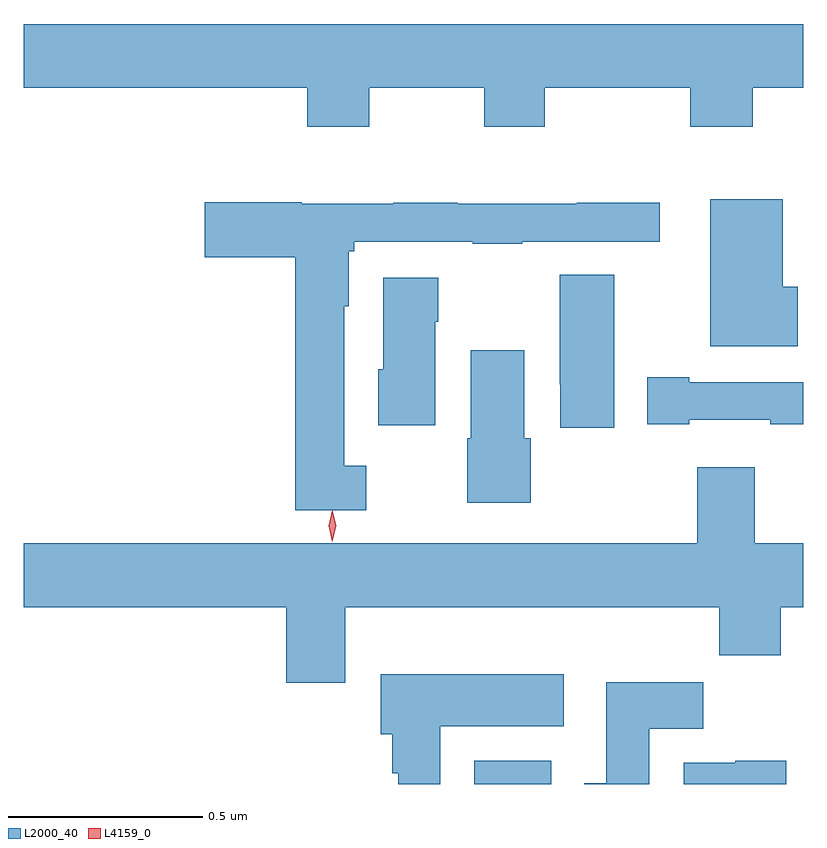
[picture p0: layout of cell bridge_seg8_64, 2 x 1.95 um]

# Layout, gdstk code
import gdstk
lib = gdstk.Library(unit=1e-6, precision=1e-09)
def R(c, l, rs):  # rectangles x0, y0, x1, y1
    for r in rs: c.add(gdstk.rectangle(r[:2], r[2:], *l))
def P(c, l, *ps):  # polygons
    for p in ps: c.add(gdstk.Polygon(p, *l))
L2000_40 = (2000, 40)
L4159_0 = (4159, 0)

bridge_seg8_64 = lib.new_cell('bridge_seg8_64')
R(bridge_seg8_64, L2000_40, [(1090.436,1112.05,1090.633,1112.11)])
P(bridge_seg8_64, L2000_40, [(1090.167,1113.836),(1090.462,1113.836),(1090.462,1113.737),(1090.617,1113.737),(1090.617,1113.836),(1090.99,1113.836),(1090.99,1113.737),(1091.15,1113.737),(1091.15,1113.836),(1091.28,1113.836),(1091.28,1114),(1089.28,1114),(1089.28,1113.836),(1090.007,1113.836),(1090.007,1113.737),(1090.167,1113.737)],
  [(1091.266,1113.326),(1091.227,1113.326),(1091.227,1113.55),(1091.042,1113.55),(1091.042,1113.173),(1091.266,1113.173)],
  [(1090.159,1112.866),(1090.102,1112.866),(1090.102,1113.276),(1090.114,1113.276),(1090.114,1113.417),(1090.128,1113.417),(1090.128,1113.441),(1090.432,1113.441),(1090.432,1113.436),(1090.559,1113.436),(1090.559,1113.441),(1090.912,1113.441),(1090.912,1113.542),(1090.699,1113.542),(1090.699,1113.539),(1090.393,1113.539),(1090.393,1113.542),(1090.228,1113.542),(1090.228,1113.539),(1089.993,1113.539),(1089.993,1113.543),(1089.744,1113.543),(1089.744,1113.401),(1089.977,1113.401),(1089.977,1112.753),(1090.159,1112.753)],
  [(1090.795,1113.356),(1090.655,1113.356),(1090.655,1113.076),(1090.657,1113.076),(1090.657,1112.964),(1090.795,1112.964)],
  [(1090.336,1113.236),(1090.344,1113.236),(1090.344,1113.349),(1090.202,1113.349),(1090.202,1113.114),(1090.19,1113.114),(1090.19,1112.97),(1090.336,1112.97)],
  [(1090.581,1112.937),(1090.564,1112.937),(1090.564,1113.163),(1090.427,1113.163),(1090.427,1112.937),(1090.418,1112.937),(1090.418,1112.771),(1090.581,1112.771)],
  [(1090.987,1112.985),(1091.195,1112.985),(1091.195,1112.973),(1091.28,1112.973),(1091.28,1113.081),(1090.987,1113.081),(1090.987,1113.094),(1090.88,1113.094),(1090.88,1112.973),(1090.987,1112.973)],
  [(1090.105,1112.504),(1091.065,1112.504),(1091.065,1112.38),(1091.222,1112.38),(1091.222,1112.504),(1091.28,1112.504),(1091.28,1112.668),(1091.155,1112.668),(1091.155,1112.863),(1091.008,1112.863),(1091.008,1112.668),(1089.28,1112.668),(1089.28,1112.504),(1089.953,1112.504),(1089.953,1112.31),(1090.105,1112.31)],
  [(1090.348,1112.198),(1090.666,1112.198),(1090.666,1112.332),(1090.196,1112.332),(1090.196,1112.178),(1090.226,1112.178),(1090.226,1112.078),(1090.241,1112.078),(1090.241,1112.05),(1090.348,1112.05)],
  [(1090.885,1112.192),(1091.024,1112.192),(1091.024,1112.311),(1090.775,1112.311),(1090.775,1112.052),(1090.718,1112.052),(1090.718,1112.05),(1090.885,1112.05)],
  [(1091.237,1112.11),(1091.106,1112.11),(1091.106,1112.104),(1090.973,1112.104),(1090.973,1112.05),(1091.237,1112.05)])
P(bridge_seg8_64, L4159_0, [(1090.072,1112.671),(1090.072,1112.672),(1090.062,1112.712),(1090.071,1112.752),(1090.072,1112.752),(1090.072,1112.752),(1090.082,1112.712),(1090.072,1112.672)])

lib.write_gds('bridge_seg8_64.gds')
